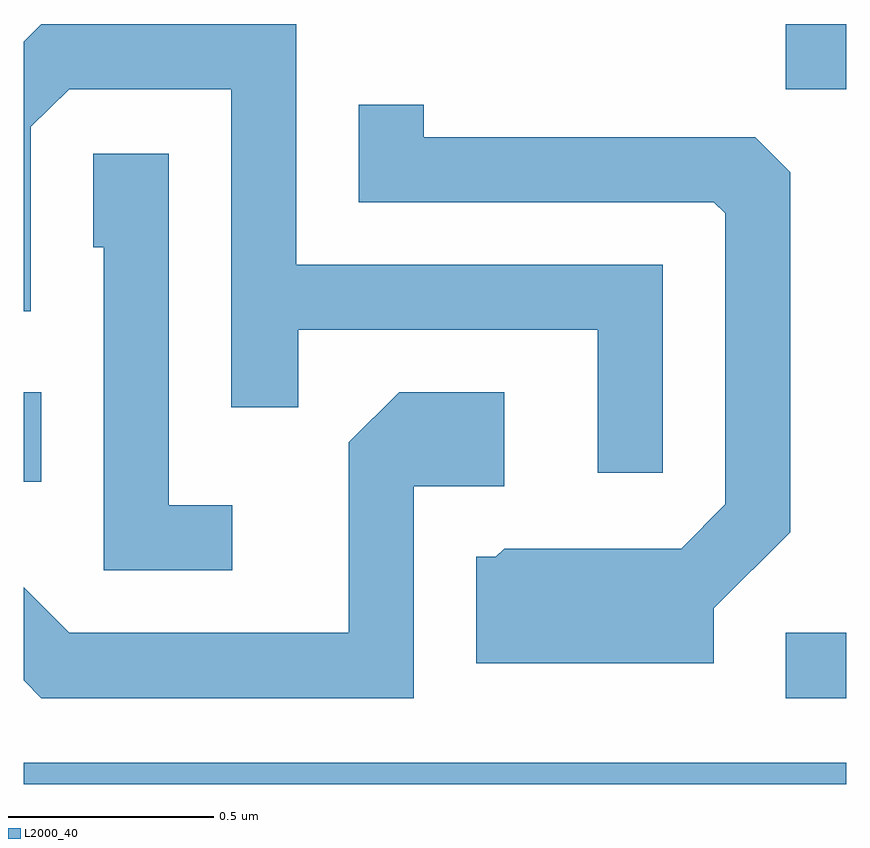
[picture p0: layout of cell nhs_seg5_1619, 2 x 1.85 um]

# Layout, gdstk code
import gdstk
lib = gdstk.Library(unit=1e-6, precision=1e-09)
def R(c, l, rs):  # rectangles x0, y0, x1, y1
    for r in rs: c.add(gdstk.rectangle(r[:2], r[2:], *l))
def P(c, l, *ps):  # polygons
    for p in ps: c.add(gdstk.Polygon(p, *l))
L2000_40 = (2000, 40)

nhs_seg5_1619 = lib.new_cell('nhs_seg5_1619')
R(nhs_seg5_1619, L2000_40, [(196.611,1508.072,198.611,1508.124), (198.463,1508.281,198.611,1508.439), (196.611,1508.806,196.654,1509.024), (198.463,1509.761,198.611,1509.919)])
P(nhs_seg5_1619, L2000_40, [(198.164,1509.334),(197.274,1509.334),(197.274,1509.919),(196.654,1509.919),(196.611,1509.876),(196.611,1509.221),(196.629,1509.221),(196.629,1509.669),(196.722,1509.761),(197.116,1509.761),(197.116,1508.988),(197.279,1508.988),(197.279,1509.176),(198.006,1509.176),(198.006,1508.828),(198.164,1508.828)],
  [(198.289,1508.499),(198.474,1508.684),(198.474,1509.559),(198.389,1509.644),(197.584,1509.644),(197.584,1509.723),(197.426,1509.723),(197.426,1509.486),(198.289,1509.486),(198.316,1509.459),(198.316,1508.752),(198.209,1508.644),(197.779,1508.644),(197.759,1508.624),(197.711,1508.624),(197.711,1508.366),(198.289,1508.366)],
  [(197.118,1508.749),(196.964,1508.749),(196.964,1509.604),(196.781,1509.604),(196.781,1509.376),(196.806,1509.376),(196.806,1508.591),(197.118,1508.591)],
  [(197.559,1508.796),(197.779,1508.796),(197.779,1509.024),(197.524,1509.024),(197.401,1508.902),(197.401,1508.439),(196.722,1508.439),(196.611,1508.55),(196.611,1508.324),(196.654,1508.281),(197.559,1508.281)])

lib.write_gds('nhs_seg5_1619.gds')
